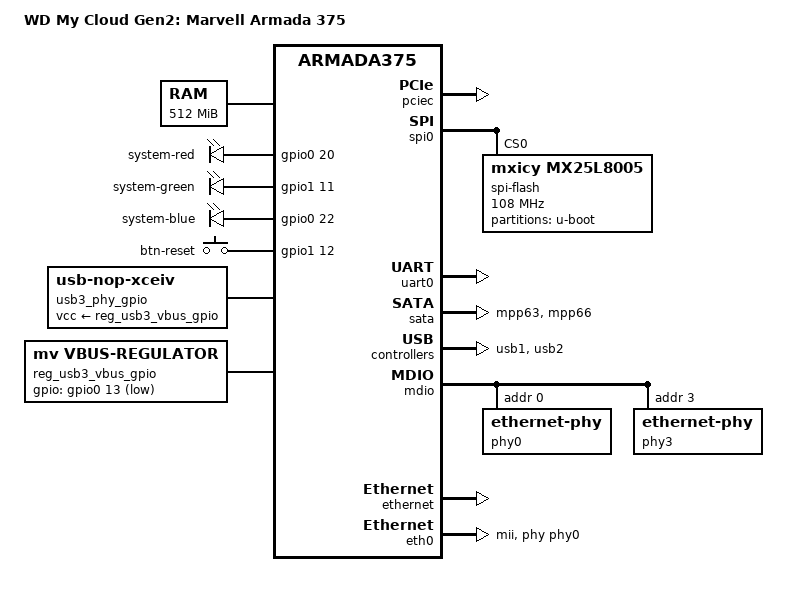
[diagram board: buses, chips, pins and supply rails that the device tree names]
/*
 * Device Tree file for Marvell Armada 375 evaluation board
 * (DB-88F6720)
 *
 *  Copyright (C) 2014 Marvell
 *
 * Gregory CLEMENT <gregory.clement@free-electrons.com>
 * Thomas Petazzoni <thomas.petazzoni@free-electrons.com>
 *
 * This file is dual-licensed: you can use it either under the terms
 * of the GPL or the X11 license, at your option. Note that this dual
 * licensing only applies to this file, and not this project as a
 * whole.
 *
 *  a) This file is free software; you can redistribute it and/or
 *     modify it under the terms of the GNU General Public License as
 *     published by the Free Software Foundation; either version 2 of the
 *     License, or (at your option) any later version.
 *
 *     This file is distributed in the hope that it will be useful,
 *     but WITHOUT ANY WARRANTY; without even the implied warranty of
 *     MERCHANTABILITY or FITNESS FOR A PARTICULAR PURPOSE.  See the
 *     GNU General Public License for more details.
 *
 * Or, alternatively,
 *
 *  b) Permission is hereby granted, free of charge, to any person
 *     obtaining a copy of this software and associated documentation
 *     files (the "Software"), to deal in the Software without
 *     restriction, including without limitation the rights to use,
 *     copy, modify, merge, publish, distribute, sublicense, and/or
 *     sell copies of the Software, and to permit persons to whom the
 *     Software is furnished to do so, subject to the following
 *     conditions:
 *
 *     The above copyright notice and this permission notice shall be
 *     included in all copies or substantial portions of the Software.
 *
 *     THE SOFTWARE IS PROVIDED "AS IS", WITHOUT WARRANTY OF ANY KIND,
 *     EXPRESS OR IMPLIED, INCLUDING BUT NOT LIMITED TO THE WARRANTIES
 *     OF MERCHANTABILITY, FITNESS FOR A PARTICULAR PURPOSE AND
 *     NONINFRINGEMENT. IN NO EVENT SHALL THE AUTHORS OR COPYRIGHT
 *     HOLDERS BE LIABLE FOR ANY CLAIM, DAMAGES OR OTHER LIABILITY,
 *     WHETHER IN AN ACTION OF CONTRACT, TORT OR OTHERWISE, ARISING
 *     FROM, OUT OF OR IN CONNECTION WITH THE SOFTWARE OR THE USE OR
 *     OTHER DEALINGS IN THE SOFTWARE.
 */

/dts-v1/;
#include <dt-bindings/gpio/gpio.h>
#include "armada-375.dtsi"

/ {
	model = "WD My Cloud Gen2: Marvell Armada 375";
	compatible = "marvell,a375-db", "marvell,armada375";

	chosen {
		stdout-path = "serial0:115200n8";
	};

	memory@0 {
		device_type = "memory";
		reg = <0x00000000 0x20000000>; /* 1/2 GB */
	};

	soc {
		ranges = <MBUS_ID(0xf0, 0x01) 0 0xf1000000 0x100000
			  MBUS_ID(0x01, 0x1d) 0 0xfff00000 0x100000
			  MBUS_ID(0x09, 0x09) 0 0xf1100000 0x10000
			  MBUS_ID(0x09, 0x05) 0 0xf1110000 0x10000>;
	};

	gpio-leds {
		compatible = "gpio-leds";
		pinctrl-names = "default";
		pinctrl-0 = <&sys_led_pins>;

		system-red {
			label = "system-red";
			gpios = <&gpio0 20 GPIO_ACTIVE_HIGH>;	// chip, pin, state (1=active-low)
			// Triggers: none nand-disk timer oneshot heartbeat backlight gpio cpu0 cpu1 default-on
			linux,default-trigger = "default-on";
			default-state = "on";
		};
		system-green {
			label = "system-green";
			gpios = <&gpio1 11 GPIO_ACTIVE_HIGH>; // 43 (mpp43) - 32 (gpio in chip) = 11 (pin in this chip)
			linux,default-trigger = "default-on";
			default-state = "on";
		};
		system-blue {
			label = "system-blue";
			gpios = <&gpio0 22 GPIO_ACTIVE_HIGH>;
			linux,default-trigger = "default-off";
			default-state = "off";
		};
	};

	gpio-keys {
		compatible = "gpio-keys";
		pinctrl-names = "default";
		pinctrl-0 = <&btn_reset_pins>;
		#address-cells = <1>;
		#size-cells = <0>;

		btn-reset {
			label = "btn-reset";
			gpios = <&gpio1 12 GPIO_ACTIVE_HIGH>; // 44-32=12
			linux,code = <198>; // KEY_RESTART, from: include/uapi/linux/input-event-codes.h
			gpio-key,wakeup;
			//autorepeat;
		};
	};

	usb3_phy_gpio: usb3-phy-gpio {
		compatible = "usb-nop-xceiv";
		vcc-supply = <&reg_usb3_vbus_gpio>;
	};

	reg_usb3_vbus_gpio: usb3-vbus-gpio {
		compatible = "mv,vbus-regulator";
		pinctrl-names = "default";
		pinctrl-0 = <&xhci0_vbus_pins>;
		regulator-name = "xhci0-vbus";
		regulator-min-microvolt = <5000000>;
		regulator-max-microvolt = <5000000>;
		enable-active-high;
		regulator-always-on;
		gpio = <&gpio0 13 GPIO_ACTIVE_LOW>;
		regulator-state-mem {
			regulator-off-in-suspend;
		};
	};
};

&pciec {
	status = "okay";
};

/*
 * The two PCIe units are accessible through
 * standard PCIe slots on the board.
 */
&pcie0 {
	/* Port 0, Lane 0 */
	status = "disanled";
};

&pcie1 {
	/* Port 1, Lane 0 */
	status = "disanled";
};

&spi0 {
	pinctrl-0 = <&spi0_pins>;
	pinctrl-names = "default";

	status = "okay";

//	spi-flash@0 {
//		#address-cells = <1>;
//		#size-cells = <1>;
//		//compatible = "n25q128a13", "jedec,spi-nor";
//		// WDMC Gen2 needs kernel patch <=4.11
//		compatible = "mx25l8005";
//		reg = <0>; /* Chip select 0 */
//		spi-max-frequency = <108000000>;
//
//	};

	spi-flash@0 {
		#address-cells = <1>;
		#size-cells = <1>;
		/* MX25L8006E */
		compatible = "mxicy,mx25l8005", "jedec,spi-nor";
		reg = <0>; /* Chip select 0 */
		spi-max-frequency = <108000000>;

		partition@0 {
			label = "u-boot";
			reg = <0x0 0x100000>;
		};
	};
};

&uart0 {
	status = "okay";
};

&pinctrl {
	sata_sd_pins: sata-sd-pins {
		marvell,pins = "mpp63", "mpp66";
		marvell,function = "gpio";
	};

	sys_led_pins: sys-led-pins {
		marvell,pins = "mpp20", "mpp43", "mpp22"; // R G B
		marvell,function = "gpio";
	};

	btn_reset_pins: btn-reset-pins {
		marvell,pins = "mpp44";
		marvell,function = "gpio";
	};

	xhci0_vbus_pins: xhci0-vbus-pins {
		marvell,pins = "mpp13";
		marvell,function = "gpio";
	};
};

&sata {
	status = "okay";
	nr-ports = <2>;

	pinctrl-0 = <&sata_sd_pins>;
	pinctrl-names = "default";
	sd-gpios = <&gpio1 31 GPIO_ACTIVE_HIGH>, <&gpio2 2 GPIO_ACTIVE_HIGH>;
};

&usb1 {
	status = "okay";
};

&usb2 {
	status = "okay";
};

&mdio {
	phy0: ethernet-phy@0 {
		reg = <0>;
	};

	phy3: ethernet-phy@3 {
		reg = <3>;
	};
};

&ethernet {
	status = "okay";
};


&eth0 {
	status = "okay";
	phy = <&phy0>;
	phy-mode = "mii";
};
